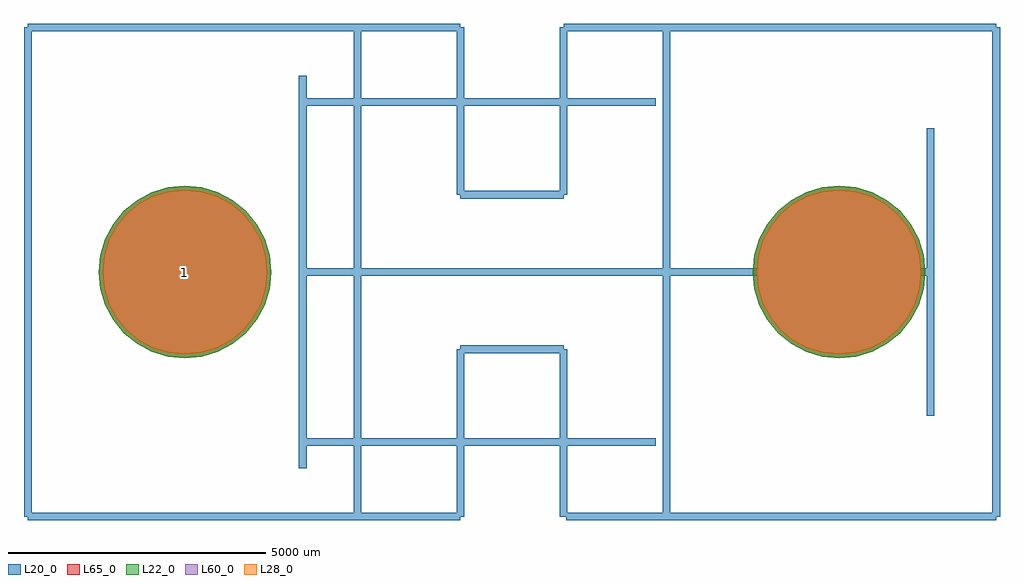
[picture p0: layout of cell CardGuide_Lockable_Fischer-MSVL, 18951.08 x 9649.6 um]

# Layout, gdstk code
import gdstk
lib = gdstk.Library(unit=1e-6, precision=1e-09)
def P(c, l, *ps):  # polygons
    for p in ps: c.add(gdstk.Polygon(p, *l))
L20_0 = (20, 0)
L22_0 = (22, 0)
L28_0 = (28, 0)
L60_0 = (60, 0)
L65_0 = (65, 0)

cardguide_lockable_fisch = lib.new_cell('CardGuide_Lockable_Fischer-MSVL')
P(cardguide_lockable_fisch, L22_0, [(8025.2,0),(7993.012,326.815),(7897.683,641.071),(7742.878,930.691),(7534.545,1184.545),(7280.691,1392.878),(6991.071,1547.683),(6676.815,1643.012),(6350,1675.2),(6023.185,1643.012),(5708.929,1547.683),(5419.309,1392.878),(5165.455,1184.545),(4957.122,930.691),(4802.317,641.071),(4706.988,326.815),(4674.8,0),(4706.988,-326.815),(4802.317,-641.071),(4957.122,-930.691),(5165.455,-1184.545),(5419.309,-1392.878),(5708.929,-1547.683),(6023.185,-1643.012),(6350,-1675.2),(6676.815,-1643.012),(6991.071,-1547.683),(7280.691,-1392.878),(7534.545,-1184.545),(7742.878,-930.691),(7897.683,-641.071),(7993.012,-326.815)],
  [(-4674.8,0),(-4706.988,326.815),(-4802.317,641.071),(-4957.122,930.691),(-5165.455,1184.545),(-5419.309,1392.878),(-5708.929,1547.683),(-6023.185,1643.012),(-6350,1675.2),(-6676.815,1643.012),(-6991.071,1547.683),(-7280.691,1392.878),(-7534.545,1184.545),(-7742.878,930.691),(-7897.683,641.071),(-7993.012,326.815),(-8025.2,0),(-7993.012,-326.815),(-7897.683,-641.071),(-7742.878,-930.691),(-7534.545,-1184.545),(-7280.691,-1392.878),(-6991.071,-1547.683),(-6676.815,-1643.012),(-6350,-1675.2),(-6023.185,-1643.012),(-5708.929,-1547.683),(-5419.309,-1392.878),(-5165.455,-1184.545),(-4957.122,-930.691),(-4802.317,-641.071),(-4706.988,-326.815)])
P(cardguide_lockable_fisch, L28_0, [(7950.2,0),(7919.453,312.184),(7828.392,612.37),(7680.518,889.023),(7481.512,1131.512),(7239.023,1330.518),(6962.37,1478.392),(6662.184,1569.453),(6350,1600.2),(6037.816,1569.453),(5737.63,1478.392),(5460.977,1330.518),(5218.488,1131.512),(5019.482,889.023),(4871.608,612.37),(4780.547,312.184),(4749.8,0),(4780.547,-312.184),(4871.608,-612.37),(5019.482,-889.023),(5218.488,-1131.512),(5460.977,-1330.518),(5737.63,-1478.392),(6037.816,-1569.453),(6350,-1600.2),(6662.184,-1569.453),(6962.37,-1478.392),(7239.023,-1330.518),(7481.512,-1131.512),(7680.518,-889.023),(7828.392,-612.37),(7919.453,-312.184)],
  [(-4749.8,0),(-4780.547,312.184),(-4871.608,612.37),(-5019.482,889.023),(-5218.488,1131.512),(-5460.977,1330.518),(-5737.63,1478.392),(-6037.816,1569.453),(-6350,1600.2),(-6662.184,1569.453),(-6962.37,1478.392),(-7239.023,1330.518),(-7481.512,1131.512),(-7680.518,889.023),(-7828.392,612.37),(-7919.453,312.184),(-7950.2,0),(-7919.453,-312.184),(-7828.392,-612.37),(-7680.518,-889.023),(-7481.512,-1131.512),(-7239.023,-1330.518),(-6962.37,-1478.392),(-6662.184,-1569.453),(-6350,-1600.2),(-6037.816,-1569.453),(-5737.63,-1478.392),(-5460.977,-1330.518),(-5218.488,-1131.512),(-5019.482,-889.023),(-4871.608,-612.37),(-4780.547,-312.184)])
P(cardguide_lockable_fisch, L60_0, [(7950.2,0),(7919.453,312.184),(7828.392,612.37),(7680.518,889.023),(7481.512,1131.512),(7239.023,1330.518),(6962.37,1478.392),(6662.184,1569.453),(6350,1600.2),(6037.816,1569.453),(5737.63,1478.392),(5460.977,1330.518),(5218.488,1131.512),(5019.482,889.023),(4871.608,612.37),(4780.547,312.184),(4749.8,0),(4780.547,-312.184),(4871.608,-612.37),(5019.482,-889.023),(5218.488,-1131.512),(5460.977,-1330.518),(5737.63,-1478.392),(6037.816,-1569.453),(6350,-1600.2),(6662.184,-1569.453),(6962.37,-1478.392),(7239.023,-1330.518),(7481.512,-1131.512),(7680.518,-889.023),(7828.392,-612.37),(7919.453,-312.184)],
  [(-4749.8,0),(-4780.547,312.184),(-4871.608,612.37),(-5019.482,889.023),(-5218.488,1131.512),(-5460.977,1330.518),(-5737.63,1478.392),(-6037.816,1569.453),(-6350,1600.2),(-6662.184,1569.453),(-6962.37,1478.392),(-7239.023,1330.518),(-7481.512,1131.512),(-7680.518,889.023),(-7828.392,612.37),(-7919.453,312.184),(-7950.2,0),(-7919.453,-312.184),(-7828.392,-612.37),(-7680.518,-889.023),(-7481.512,-1131.512),(-7239.023,-1330.518),(-6962.37,-1478.392),(-6662.184,-1569.453),(-6350,-1600.2),(-6037.816,-1569.453),(-5737.63,-1478.392),(-5460.977,-1330.518),(-5218.488,-1131.512),(-5019.482,-889.023),(-4871.608,-612.37),(-4780.547,-312.184)])
P(cardguide_lockable_fisch, L65_0, [(8025.2,0),(7993.012,326.815),(7897.683,641.071),(7742.878,930.691),(7534.545,1184.545),(7280.691,1392.878),(6991.071,1547.683),(6676.815,1643.012),(6350,1675.2),(6023.185,1643.012),(5708.929,1547.683),(5419.309,1392.878),(5165.455,1184.545),(4957.122,930.691),(4802.317,641.071),(4706.988,326.815),(4674.8,0),(4706.988,-326.815),(4802.317,-641.071),(4957.122,-930.691),(5165.455,-1184.545),(5419.309,-1392.878),(5708.929,-1547.683),(6023.185,-1643.012),(6350,-1675.2),(6676.815,-1643.012),(6991.071,-1547.683),(7280.691,-1392.878),(7534.545,-1184.545),(7742.878,-930.691),(7897.683,-641.071),(7993.012,-326.815)],
  [(-4674.8,0),(-4706.988,326.815),(-4802.317,641.071),(-4957.122,930.691),(-5165.455,1184.545),(-5419.309,1392.878),(-5708.929,1547.683),(-6023.185,1643.012),(-6350,1675.2),(-6676.815,1643.012),(-6991.071,1547.683),(-7280.691,1392.878),(-7534.545,1184.545),(-7742.878,930.691),(-7897.683,641.071),(-7993.012,326.815),(-8025.2,0),(-7993.012,-326.815),(-7897.683,-641.071),(-7742.878,-930.691),(-7534.545,-1184.545),(-7280.691,-1392.878),(-6991.071,-1547.683),(-6676.815,-1643.012),(-6350,-1675.2),(-6023.185,-1643.012),(-5708.929,-1547.683),(-5419.309,-1392.878),(-5165.455,-1184.545),(-4957.122,-930.691),(-4802.317,-641.071),(-4706.988,-326.815)])
cardguide_lockable_fisch.add(gdstk.FlexPath([(9400.54,-4749.8),(9400.54,4749.8)], 149.998, ends="flush", simple_path=True, layer=20, datatype=0))  # L20_0
cardguide_lockable_fisch.add(gdstk.FlexPath([(-9400.54,4749.8),(-9400.54,-4749.8)], 149.998, ends="flush", simple_path=True, layer=20, datatype=0))  # L20_0
cardguide_lockable_fisch.add(gdstk.FlexPath([(-1000.76,1501.14),(-1000.76,4749.8)], 149.998, ends="flush", simple_path=True, layer=20, datatype=0))  # L20_0
cardguide_lockable_fisch.add(gdstk.FlexPath([(1000.76,1501.14),(-1000.76,1501.14)], 149.998, ends="flush", simple_path=True, layer=20, datatype=0))  # L20_0
cardguide_lockable_fisch.add(gdstk.FlexPath([(1000.76,4749.8),(1000.76,1501.14)], 149.998, ends="flush", simple_path=True, layer=20, datatype=0))  # L20_0
cardguide_lockable_fisch.add(gdstk.FlexPath([(-1000.76,-4749.8),(-9400.54,-4749.8)], 149.998, ends="flush", simple_path=True, layer=20, datatype=0))  # L20_0
cardguide_lockable_fisch.add(gdstk.FlexPath([(-1000.76,-1501.14),(-1000.76,-4749.8)], 149.998, ends="flush", simple_path=True, layer=20, datatype=0))  # L20_0
cardguide_lockable_fisch.add(gdstk.FlexPath([(1000.76,-1501.14),(-1000.76,-1501.14)], 149.998, ends="flush", simple_path=True, layer=20, datatype=0))  # L20_0
cardguide_lockable_fisch.add(gdstk.FlexPath([(1000.76,-4749.8),(1000.76,-1501.14)], 149.998, ends="flush", simple_path=True, layer=20, datatype=0))  # L20_0
cardguide_lockable_fisch.add(gdstk.FlexPath([(1049.02,-4749.8),(9400.54,-4749.8)], 149.998, ends="flush", simple_path=True, layer=20, datatype=0))  # L20_0
cardguide_lockable_fisch.add(gdstk.FlexPath([(1000.76,4749.8),(9400.54,4749.8)], 149.998, ends="flush", simple_path=True, layer=20, datatype=0))  # L20_0
cardguide_lockable_fisch.add(gdstk.FlexPath([(-1000.76,4749.8),(-9400.54,4749.8)], 149.998, ends="flush", simple_path=True, layer=20, datatype=0))  # L20_0
cardguide_lockable_fisch.add(gdstk.FlexPath([(-2999.74,4749.8),(-2999.74,-4749.8)], 149.998, ends="flush", simple_path=True, layer=20, datatype=0))  # L20_0
cardguide_lockable_fisch.add(gdstk.FlexPath([(2999.74,-4749.8),(2999.74,4749.8)], 149.998, ends="flush", simple_path=True, layer=20, datatype=0))  # L20_0
cardguide_lockable_fisch.add(gdstk.FlexPath([(-4064,3810),(-4064,-3810)], 149.998, ends="flush", simple_path=True, layer=20, datatype=0))  # L20_0
cardguide_lockable_fisch.add(gdstk.FlexPath([(-4064,-3302),(2794,-3302)], 149.998, ends="flush", simple_path=True, layer=20, datatype=0))  # L20_0
cardguide_lockable_fisch.add(gdstk.FlexPath([(-4064,3302),(2794,3302)], 149.998, ends="flush", simple_path=True, layer=20, datatype=0))  # L20_0
cardguide_lockable_fisch.add(gdstk.FlexPath([(8128,0),(8128,2794)], 149.998, ends="flush", simple_path=True, layer=20, datatype=0))  # L20_0
cardguide_lockable_fisch.add(gdstk.FlexPath([(-4064,0),(8128,0)], 149.998, ends="flush", simple_path=True, layer=20, datatype=0))  # L20_0
cardguide_lockable_fisch.add(gdstk.FlexPath([(8128,0),(8128,-2794)], 149.998, ends="flush", simple_path=True, layer=20, datatype=0))  # L20_0
cardguide_lockable_fisch.add(gdstk.Label('1', (-6350,0), layer=28, texttype=0))
cardguide_lockable_fisch.add(gdstk.Label('type', (701.04,-7399.02), layer=9, texttype=0))
cardguide_lockable_fisch.add(gdstk.Label('devicename', (-99.06,7851.14), layer=9, texttype=0))

lib.write_gds('CardGuide_Lockable_Fischer-MSVL.gds')
